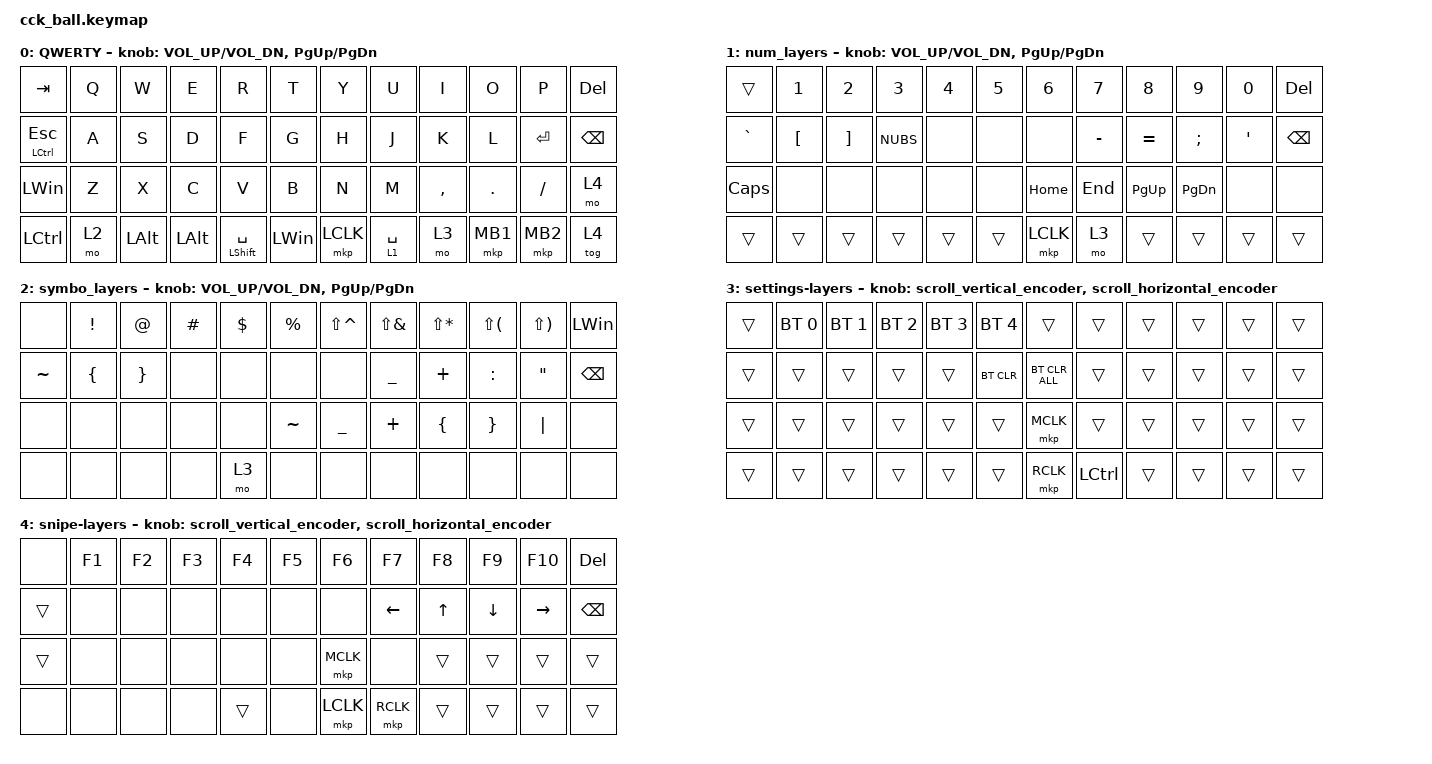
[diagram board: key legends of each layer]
#define ZMK_POINTING_DEFAULT_MOVE_VAL 1000 // 600
#define ZMK_POINTING_DEFAULT_SCRL_VAL 12   // 10

#include <input/processors.dtsi>
#include <zephyr/dt-bindings/input/input-event-codes.h>
#include <behaviors.dtsi>
#include <dt-bindings/zmk/bt.h>
#include <dt-bindings/zmk/keys.h>
#include <dt-bindings/zmk/pointing.h>

&mmv_input_listener { input-processors = <&zip_xy_scaler 2 1>; };

&msc_input_listener { input-processors = <&zip_scroll_scaler 2 1>; };

&msc {
    acceleration-exponent = <0>;      // 0
    time-to-max-speed-ms = <300>;       // 300
    delay-ms = <0>;                   // 0
};

&mmv {
    time-to-max-speed-ms = <500>;
    acceleration-exponent = <1>;
    trigger-period-ms = <16>;
};

&soft_off { hold-time-ms = <2000>; };

/ {
    // 上下滚动编码器行为

    scroll_vertical_encoder: scroll_vertical_encoder {
        compatible = "zmk,behavior-sensor-rotate";
        #sensor-binding-cells = <0>;
        bindings = <&msc SCRL_DOWN>, <&msc SCRL_UP>;

        tap-ms = <100>;
    };

    // 左右滚动编码器行为

    scroll_horizontal_encoder: scroll_horizontal_encoder {
        compatible = "zmk,behavior-sensor-rotate";
        #sensor-binding-cells = <0>;
        bindings = <&msc SCRL_LEFT>, <&msc SCRL_RIGHT>;

        tap-ms = <100>;
    };

    behaviors {
    };

    keymap {
        compatible = "zmk,keymap";

        QWERTY {
            bindings = <
&kp TAB           &kp Q         &kp W         &kp E         &kp R        &kp T  &kp Y      &kp U         &kp I          &kp O     &kp P      &kp DEL
&mt LCTRL ESC     &kp A         &kp S         &kp D         &kp F        &kp G  &kp H      &kp J         &kp K          &kp L     &kp ENTER  &kp BSPC
&kp LEFT_WIN      &kp Z         &kp X         &kp C         &kp V        &kp B  &kp N      &kp M         &kp COMMA      &kp DOT   &kp SLASH  &mo 4
&kp LEFT_CONTROL  &mo 2  &kp LEFT_ALT  &kp LEFT_ALT  &mt LSHIFT SPACE  &kp LEFT_WIN  &mkp LCLK  &lt 1 SPACE  &mo 3  &mkp MB1  &mkp MB2   &tog 4
            >;

            sensor-bindings = <&inc_dec_kp C_VOL_UP C_VOL_DN &inc_dec_kp PG_UP PG_DN>;
        };

        num_layers {
            bindings = <
&trans     &kp N1    &kp N2    &kp N3    &kp N4  &kp N5   &kp N6     &kp N7     &kp N8     &kp N9     &kp N0  &kp DEL
&kp GRAVE  &kp LBKT  &kp RBKT  &kp NUBS  &none   &none    &none      &kp MINUS  &kp EQUAL  &kp SEMI   &kp SQT &kp BSPC
&kp CAPS   &none     &none    &none    &none  &none  &kp HOME   &kp END    &kp PG_UP  &kp PG_DN  &none   &none
&trans     &trans    &trans    &trans    &trans  &trans   &mkp LCLK  &mo 3      &trans     &trans     &trans  &trans
            >;

            sensor-bindings = <&inc_dec_kp C_VOL_UP C_VOL_DN &inc_dec_kp PG_UP PG_DN>;
        };

        symbo_layers {
            bindings = <
&none       &kp EXCL    &kp AT     &kp HASH  &kp DOLLAR  &kp PERCENT  &kp LS(CARET)  &kp LS(AMPS)  &kp LS(STAR)    &kp LS(LPAR)  &kp LS(RPAR)  &kp LEFT_WIN
&kp TILDE  &kp LBRC     &kp RBRC   &none     &none       &none        &none          &kp UNDER     &kp PLUS        &kp COLON      &kp DQT      &kp BSPC
&none  &none     &none   &none     &none       &kp TILDE    &kp UNDER      &kp PLUS      &kp LEFT_BRACE  &kp RBRC      &kp PIPE      &none
&none  &none     &none   &none     &mo 3       &none        &none          &none         &none           &none         &none         &none
            >;

            sensor-bindings = <&inc_dec_kp C_VOL_UP C_VOL_DN &inc_dec_kp PG_UP PG_DN>;
        };

        settings-layers {
            bindings = <
&trans  &bt BT_SEL 0  &bt BT_SEL 1  &bt BT_SEL 2  &bt BT_SEL 3  &bt BT_SEL 4  &trans          &trans  &trans  &trans  &trans  &trans
&trans  &trans        &trans        &trans        &trans        &bt BT_CLR    &bt BT_CLR_ALL  &trans  &trans  &trans  &trans  &trans
&trans  &trans        &trans        &trans        &trans        &trans        &mkp MCLK        &trans  &trans  &trans  &trans  &trans
&trans  &trans        &trans        &trans        &trans        &trans        &mkp RCLK       &kp LCTRL  &trans  &trans  &trans  &trans
            >;

            sensor-bindings = 
                <&scroll_vertical_encoder>,
                // 编码器1：上下滚动,
                <&scroll_horizontal_encoder>;
  // 编码器2：左右滚动
        };

        snipe-layers {
            bindings = <
&none  &kp F1  &kp F2  &kp F3  &kp F4  &kp F5  &kp F6  &kp F7  &kp F8  &kp F9  &kp F10   &kp DEL
&trans  &none  &none  &none  &none  &none  &none  &kp LEFT  &kp UP  &kp DOWN  &kp RIGHT  &kp BSPC
&trans  &none  &none  &none  &none  &none  &mkp MCLK  &none  &trans  &trans  &trans  &trans
&none  &none  &none  &none  &trans  &none  &mkp LCLK  &mkp RCLK &trans  &trans  &trans  &trans
            >;

            sensor-bindings =
                <&scroll_vertical_encoder>,
                // 编码器1：上下滚动,
                <&scroll_horizontal_encoder>;
  // 编码器2：左右滚动
        };
    };
};
